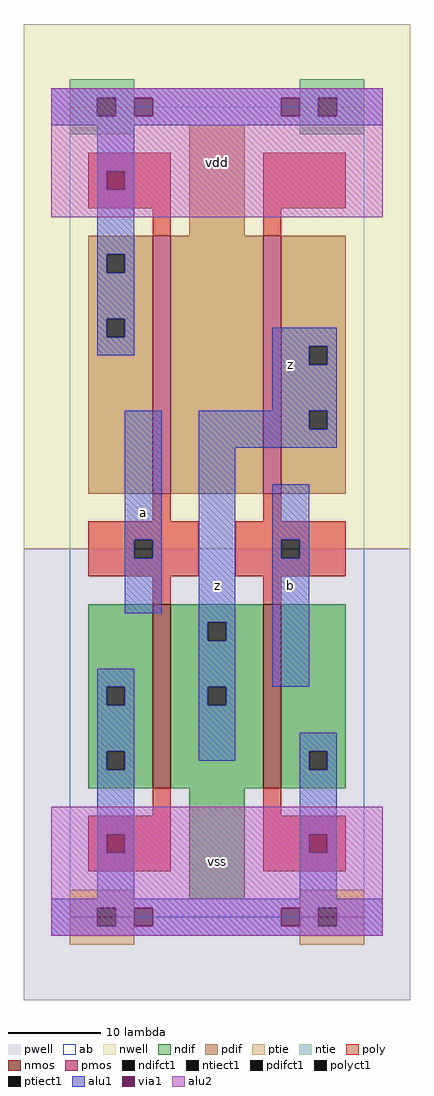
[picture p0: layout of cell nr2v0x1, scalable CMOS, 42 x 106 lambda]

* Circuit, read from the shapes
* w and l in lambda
.subckt nr2v0x1 a b vdd vss z
M1 z a vss vss nfet w=20 l=2
M2 vss b z vss nfet w=20 l=2
M3 n1 a vdd vdd pfet w=28 l=2
M4 z b n1 vdd pfet w=28 l=2
.ends

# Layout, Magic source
magic
tech scmos
<< ab >>
rect 0 0 32 88
<< nwell >>
rect -5 40 37 97
<< pwell >>
rect -5 -9 37 40
<< poly >>
rect 2 77 11 83
rect 9 74 11 77
rect 21 77 30 83
rect 21 74 23 77
rect 9 43 11 46
rect 21 43 23 46
rect 2 41 14 43
rect 2 39 7 41
rect 9 39 14 41
rect 2 37 14 39
rect 18 41 30 43
rect 18 39 23 41
rect 25 39 30 41
rect 18 37 30 39
rect 9 34 11 37
rect 21 34 23 37
rect 9 11 11 14
rect 2 5 11 11
rect 21 11 23 14
rect 21 5 30 11
<< ndif >>
rect 2 25 9 34
rect 2 23 4 25
rect 6 23 9 25
rect 2 18 9 23
rect 2 16 4 18
rect 6 16 9 18
rect 2 14 9 16
rect 11 32 21 34
rect 11 30 15 32
rect 17 30 21 32
rect 11 25 21 30
rect 11 23 15 25
rect 17 23 21 25
rect 11 14 21 23
rect 23 18 30 34
rect 23 16 26 18
rect 28 16 30 18
rect 23 14 30 16
rect 13 2 19 14
<< pdif >>
rect 13 74 19 86
rect 2 72 9 74
rect 2 70 4 72
rect 6 70 9 72
rect 2 65 9 70
rect 2 63 4 65
rect 6 63 9 65
rect 2 46 9 63
rect 11 46 21 74
rect 23 62 30 74
rect 23 60 26 62
rect 28 60 30 62
rect 23 55 30 60
rect 23 53 26 55
rect 28 53 30 55
rect 23 46 30 53
<< alu1 >>
rect -2 89 34 90
rect -2 87 3 89
rect 5 87 7 89
rect 9 87 23 89
rect 25 87 27 89
rect 29 87 34 89
rect -2 86 34 87
rect 3 81 7 86
rect 3 79 4 81
rect 6 79 7 81
rect 3 72 7 79
rect 3 70 4 72
rect 6 70 7 72
rect 3 65 7 70
rect 3 63 4 65
rect 6 63 7 65
rect 3 61 7 63
rect 22 62 29 64
rect 22 60 26 62
rect 28 60 29 62
rect 22 55 29 60
rect 6 41 10 55
rect 6 39 7 41
rect 9 39 10 41
rect 6 33 10 39
rect 14 53 26 55
rect 28 53 29 55
rect 14 51 29 53
rect 14 32 18 51
rect 14 30 15 32
rect 17 30 18 32
rect 3 25 7 27
rect 3 23 4 25
rect 6 23 7 25
rect 3 18 7 23
rect 3 16 4 18
rect 6 16 7 18
rect 14 25 18 30
rect 22 41 26 47
rect 22 39 23 41
rect 25 39 26 41
rect 22 25 26 39
rect 14 23 15 25
rect 17 23 18 25
rect 14 17 18 23
rect 25 18 29 20
rect 3 9 7 16
rect 3 7 4 9
rect 6 7 7 9
rect 3 2 7 7
rect 25 16 26 18
rect 28 16 29 18
rect 25 9 29 16
rect 25 7 26 9
rect 28 7 29 9
rect 25 2 29 7
rect -2 1 34 2
rect -2 -1 3 1
rect 5 -1 7 1
rect 9 -1 23 1
rect 25 -1 27 1
rect 29 -1 34 1
rect -2 -2 34 -1
<< alu2 >>
rect -2 89 34 90
rect -2 87 7 89
rect 9 87 23 89
rect 25 87 34 89
rect -2 81 34 87
rect -2 79 4 81
rect 6 79 34 81
rect -2 76 34 79
rect -2 9 34 12
rect -2 7 4 9
rect 6 7 26 9
rect 28 7 34 9
rect -2 1 34 7
rect -2 -1 7 1
rect 9 -1 23 1
rect 25 -1 34 1
rect -2 -2 34 -1
<< ptie >>
rect 0 1 7 3
rect 0 -1 3 1
rect 5 -1 7 1
rect 0 -3 7 -1
rect 25 1 32 3
rect 25 -1 27 1
rect 29 -1 32 1
rect 25 -3 32 -1
<< ntie >>
rect 0 89 7 91
rect 0 87 3 89
rect 5 87 7 89
rect 0 85 7 87
rect 25 89 32 91
rect 25 87 27 89
rect 29 87 32 89
rect 25 85 32 87
<< nmos >>
rect 9 14 11 34
rect 21 14 23 34
<< pmos >>
rect 9 46 11 74
rect 21 46 23 74
<< polyct1 >>
rect 7 39 9 41
rect 23 39 25 41
<< ndifct1 >>
rect 4 23 6 25
rect 4 16 6 18
rect 15 30 17 32
rect 15 23 17 25
rect 26 16 28 18
<< ntiect1 >>
rect 3 87 5 89
rect 27 87 29 89
<< ptiect1 >>
rect 3 -1 5 1
rect 27 -1 29 1
<< pdifct1 >>
rect 4 70 6 72
rect 4 63 6 65
rect 26 60 28 62
rect 26 53 28 55
<< via1 >>
rect 7 87 9 89
rect 23 87 25 89
rect 4 79 6 81
rect 4 7 6 9
rect 26 7 28 9
rect 7 -1 9 1
rect 23 -1 25 1
<< labels >>
rlabel alu1 8 44 8 44 6 a
rlabel alu1 16 36 16 36 6 z
rlabel alu1 24 36 24 36 6 b
rlabel alu1 24 60 24 60 6 z
rlabel alu2 16 6 16 6 6 vss
rlabel alu2 16 82 16 82 6 vdd
<< end >>
